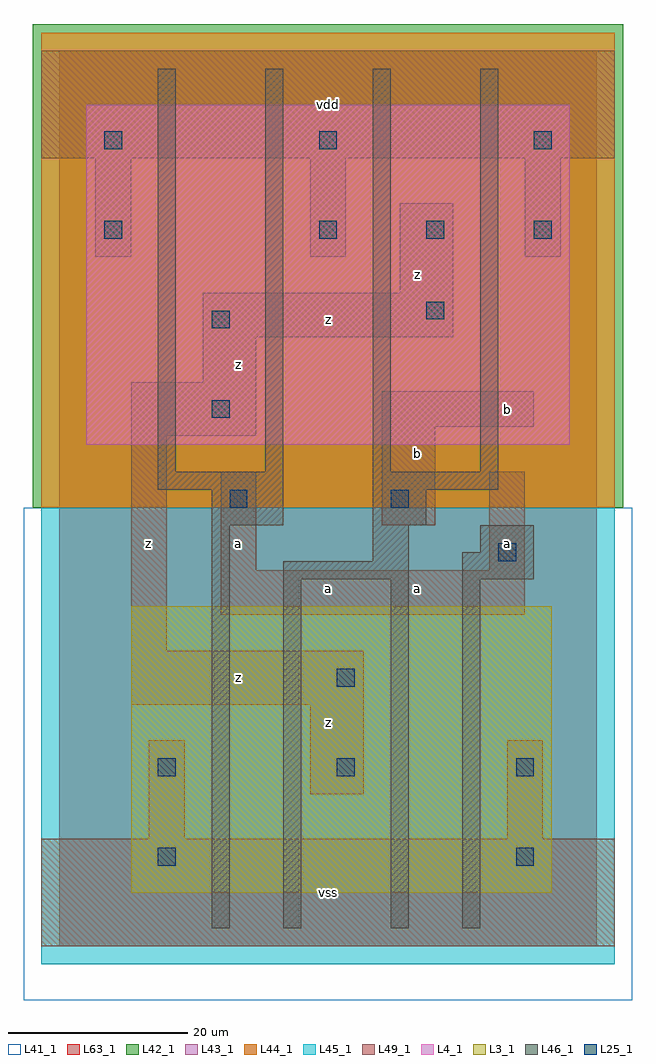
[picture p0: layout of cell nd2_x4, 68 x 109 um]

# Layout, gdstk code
import gdstk
lib = gdstk.Library(unit=1e-6, precision=1e-09)
def R(c, l, rs):  # rectangles x0, y0, x1, y1
    for r in rs: c.add(gdstk.rectangle(r[:2], r[2:], *l))
def A(c, l, x, y, w, h, nx, ny, dx, dy):  # array of equal rectangles
    R(c, l, [(x+i*dx, y+j*dy, x+i*dx+w, y+j*dy+h) for i in range(nx) for j in range(ny)])
L3_1 = (3, 1)
L4_1 = (4, 1)
L25_1 = (25, 1)
L41_1 = (41, 1)
L42_1 = (42, 1)
L43_1 = (43, 1)
L44_1 = (44, 1)
L45_1 = (45, 1)
L46_1 = (46, 1)
L49_1 = (49, 1)
L63_1 = (63, 1)

nd2_x4 = lib.new_cell('nd2_x4')
R(nd2_x4, L3_1, [(8,6,55,38)])
R(nd2_x4, L4_1, [(3,56,57,94)])
A(nd2_x4, L25_1, 11, 19, 2, 2, 3, 1, 20, 0)
A(nd2_x4, L25_1, 29, 79, 2, 2, 3, 1, 12, 0)
A(nd2_x4, L25_1, 5, 89, 2, 2, 3, 1, 24, 0)
R(nd2_x4, L25_1, [(11,9,13,11), (51,9,53,11), (31,29,33,31), (49,43,51,45), (19,49,21,51), (37,49,39,51), (17,59,19,61), (17,69,19,71), (41,70,43,72), (5,79,7,81)])
R(nd2_x4, L41_1, [(-4,-6,64,49), (-3,-3,63,49)])
R(nd2_x4, L42_1, [(-3,49,63,103)])
R(nd2_x4, L43_1, [(8,6,55,38), (3,56,57,94)])
R(nd2_x4, L44_1, [(-2,49,62,102)])
R(nd2_x4, L45_1, [(-2,-2,62,49)])
A(nd2_x4, L46_1, 11, 53, 2, 45, 4, 1, 12, 0)
R(nd2_x4, L46_1, [(17,2,19,47), (25,2,27,41), (37,2,39,41), (45,2,47,41), (25,41,39,43), (45,41,53,44), (35,43,39,47), (47,44,53,47), (17,47,25,51), (35,47,41,51), (11,51,25,53), (35,51,49,53)])
A(nd2_x4, L49_1, 4, 77, 4, 11, 3, 1, 24, 0)
R(nd2_x4, L49_1, [(-2,0,62,12), (10,12,14,23), (50,12,54,23), (28,17,34,27), (8,27,34,33), (8,33,12,57), (18,37,52,42), (18,42,22,53), (48,42,52,53), (36,47,42,58), (8,57,22,63), (36,58,53,62), (16,63,22,68), (16,68,44,73), (38,73,44,83), (-2,88,62,100)])
R(nd2_x4, L63_1, [(0,0,60,100)])
nd2_x4.add(gdstk.Label('z', (20,30), layer=49, texttype=1))
nd2_x4.add(gdstk.Label('z', (20,30), layer=49, texttype=1))
nd2_x4.add(gdstk.Label('z', (10,45), layer=49, texttype=1))
nd2_x4.add(gdstk.Label('z', (10,45), layer=49, texttype=1))
nd2_x4.add(gdstk.Label('a', (20,45), layer=49, texttype=1))
nd2_x4.add(gdstk.Label('a', (20,45), layer=49, texttype=1))
nd2_x4.add(gdstk.Label('z', (20,65), layer=49, texttype=1))
nd2_x4.add(gdstk.Label('z', (20,65), layer=49, texttype=1))
nd2_x4.add(gdstk.Label('vss', (30,6), layer=49, texttype=1))
nd2_x4.add(gdstk.Label('vss', (30,6), layer=49, texttype=1))
nd2_x4.add(gdstk.Label('z', (30,25), layer=49, texttype=1))
nd2_x4.add(gdstk.Label('z', (30,25), layer=49, texttype=1))
nd2_x4.add(gdstk.Label('a', (30,40), layer=49, texttype=1))
nd2_x4.add(gdstk.Label('a', (30,40), layer=49, texttype=1))
nd2_x4.add(gdstk.Label('z', (30,70), layer=49, texttype=1))
nd2_x4.add(gdstk.Label('z', (30,70), layer=49, texttype=1))
nd2_x4.add(gdstk.Label('vdd', (30,94), layer=49, texttype=1))
nd2_x4.add(gdstk.Label('vdd', (30,94), layer=49, texttype=1))
nd2_x4.add(gdstk.Label('a', (40,40), layer=49, texttype=1))
nd2_x4.add(gdstk.Label('a', (40,40), layer=49, texttype=1))
nd2_x4.add(gdstk.Label('b', (40,55), layer=49, texttype=1))
nd2_x4.add(gdstk.Label('b', (40,55), layer=49, texttype=1))
nd2_x4.add(gdstk.Label('z', (40,75), layer=49, texttype=1))
nd2_x4.add(gdstk.Label('z', (40,75), layer=49, texttype=1))
nd2_x4.add(gdstk.Label('a', (50,45), layer=49, texttype=1))
nd2_x4.add(gdstk.Label('a', (50,45), layer=49, texttype=1))
nd2_x4.add(gdstk.Label('b', (50,60), layer=49, texttype=1))
nd2_x4.add(gdstk.Label('b', (50,60), layer=49, texttype=1))

lib.write_gds('nd2_x4.gds')
